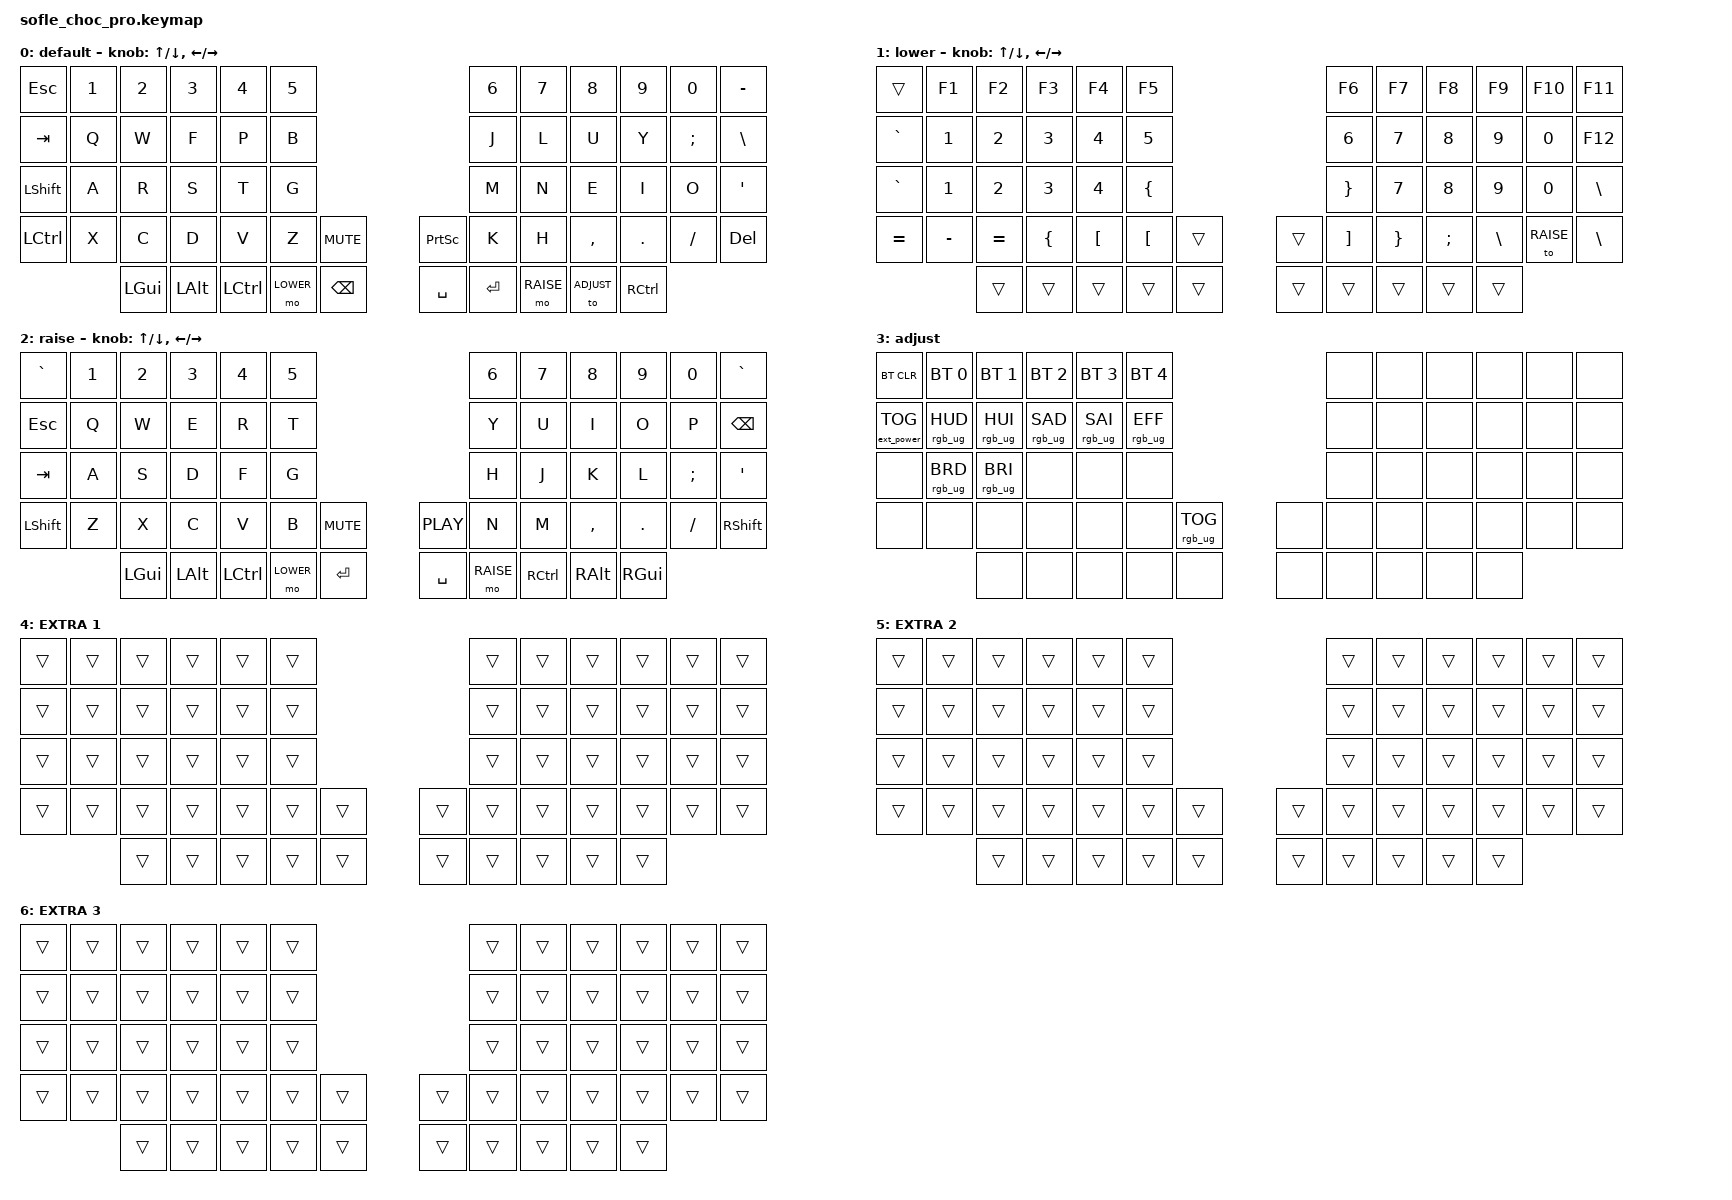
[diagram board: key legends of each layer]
/*
* Copyright (c) 2020 The ZMK Contributors
*
* SPDX-License-Identifier: MIT
*/

#include <behaviors.dtsi>
#include <dt-bindings/zmk/keys.h>
#include <dt-bindings/zmk/bt.h>
#include <dt-bindings/zmk/rgb.h>
#include <dt-bindings/zmk/ext_power.h>

#define BASE 0
#define LOWER 1
#define RAISE 2
#define ADJUST 3

/ {

  // Activate ADJUST layer by pressing raise and lower
  conditional_layers {
    compatible = "zmk,conditional-layers";
    adjust_layer {
      if-layers = <LOWER RAISE>;
      then-layer = <ADJUST>;
    };
  };

  keymap {
    compatible = "zmk,keymap";

    default_layer {
      display-name = "default";
      // ------------------------------------------------------------------------------------------------------------
      // |  ESC  |  1  |  2  |  3   |  4   |  5   |                   |  6   |  7    |  8    |  9   |   0   |   -   |
      // |  TAB  |  Q  |  W  |  F   |  P   |  B   |                   |  J   |  L    |  U    |  Y   |   ;   |   \   |
      // | SHIFT |  A  |  R  |  S   |  T   |  G   |                   |  M   |  N    |  E    |  I   |   O   |   '   |
      // | CTRL  |  X  |  C  |  D   |  V   |  Z   |  MUTE  |  | PSCR  |  K   |  H    |  ,    |  .   |   /   |  DEL  |
      //               | GUI | ALT  | CTRL | LOWER|  BSPC  |  | SPACE |  RET | RAISE |ADJUST | CTRL |
      bindings = <
        &kp ESC   &kp N1 &kp N2   &kp N3   &kp N4    &kp N5                           &kp N6 &kp N7    &kp N8    &kp N9   &kp N0   &kp MINUS
        &kp TAB   &kp Q  &kp W    &kp F    &kp P     &kp B                            &kp J  &kp L     &kp U     &kp Y    &kp SEMI &kp BSLH
        &kp LSHFT &kp A  &kp R    &kp S    &kp T     &kp G                            &kp M  &kp N     &kp E     &kp I    &kp O    &kp SQT
        &kp LCTRL &kp X  &kp C    &kp D    &kp V     &kp Z   &kp C_MUTE &kp PSCRN     &kp K  &kp H     &kp COMMA &kp DOT  &kp FSLH &kp DEL
        &kp LGUI &kp LALT &kp LCTRL &mo LOWER &kp BSPC    &kp SPACE  &kp RET &mo RAISE &to ADJUST &kp RCTRL
      >;

      sensor-bindings = <&inc_dec_kp UP DOWN &inc_dec_kp LEFT RIGHT>;
    };

    lower_layer {
      display-name = "lower";
      // ------------------------------------------------------------------------------------------------------------
      // |       |  F1 |  F2 |  F3  |  F4  |  F5  |                   |  F6  |  F7   |  F8   |  F9  |  F10  |  F11  |
      // |   `   |  1  |  2  |  3   |  4   |  5   |                   |  6   |  7    |  8    |  9   |   0   |  F12  |
      // |   `   |  1  |  2  |  3   |  4   |  {   |                   |  }   |  7    |  8    |  9   |   0   |   \   |
      // |   =   |  -  |  =  |  {   |  [   |  [   |        |  |       |  ]   |  }    |  ;    |  \   |RAISE  |   \   |
      //               |     |      |      |      |        |  |       |      |       |       |      |
      bindings = <
        &trans    &kp F1    &kp F2    &kp F3      &kp F4    &kp F5                    &kp F6    &kp F7   &kp F8    &kp F9    &kp F10   &kp F11
        &kp GRAVE &kp N1    &kp N2    &kp N3      &kp N4    &kp N5                    &kp N6    &kp N7   &kp N8    &kp N9    &kp N0    &kp F12
        &kp GRAVE &kp N1    &kp N2    &kp N3      &kp N4    &kp LBRC                  &kp RBRC  &kp N7   &kp N8    &kp N9    &kp N0    &kp BSLH
        &kp EQUAL &kp MINUS &kp EQUAL &kp LBRC &kp LBKT  &kp LBKT   &trans &trans  &kp RBKT  &kp RBRC &kp SEMI  &kp BSLH  &to RAISE &kp BSLH
        &trans    &trans      &trans    &trans     &trans &trans  &trans    &trans   &trans    &trans
      >;

      sensor-bindings = <&inc_dec_kp UP DOWN &inc_dec_kp LEFT RIGHT>;
    };

    raise_layer {
      display-name = "raise";
      // ------------------------------------------------------------------------------------------------------------
      // |   `   |  1  |  2  |  3   |  4   |  5   |                   |  6   |  7    |  8    |  9   |   0   |   `   |
      // |  ESC  |  Q  |  W  |  E   |  R   |  T   |                   |  Y   |  U    |  I    |  O   |   P   | BKSPC |
      // |  TAB  |  A  |  S  |  D   |  F   |  G   |                   |  H   |  J    |  K    |  L   |   ;   |   '   |
      // | SHIFT |  Z  |  X  |  C   |  V   |  B   |  MUTE  |  | PLAY  |  N   |  M    |  ,    |  .   |   /   | SHIFT |
      //               | GUI | ALT  | CTRL | LOWER|  ENTER |  | SPACE | RAISE| CTRL  | ALT   | GUI  |
      bindings = <
        &kp GRAVE &kp N1 &kp N2   &kp N3   &kp N4    &kp N5                           &kp N6 &kp N7    &kp N8    &kp N9   &kp N0   &kp GRAVE
        &kp ESC   &kp Q  &kp W    &kp E    &kp R     &kp T                            &kp Y  &kp U     &kp I     &kp O    &kp P    &kp BSPC
        &kp TAB   &kp A  &kp S    &kp D    &kp F     &kp G                            &kp H  &kp J     &kp K     &kp L    &kp SEMI &kp SQT
        &kp LSHFT &kp Z  &kp X    &kp C    &kp V     &kp B   &kp C_MUTE &kp C_PLAY    &kp N  &kp M     &kp COMMA &kp DOT  &kp FSLH &kp RSHFT
        &kp LGUI &kp LALT &kp LCTRL &mo LOWER  &kp RET    &kp SPACE  &mo RAISE  &kp RCTRL &kp RALT  &kp RGUI
      >;

      sensor-bindings = <&inc_dec_kp UP DOWN &inc_dec_kp LEFT RIGHT>;
    };

    adjust_layer {
      // ----------------------------------------------------------------------------------------------------------------------------
      // | BTCLR  |  BT1    |  BT2    |   BT3   |   BT4   |   BT5   |                  |      |      |       |      |       |       |
      // | EXTPWR | RGB_HUD | RGB_HUI | RGB_SAD | RGB_SAI | RGB_EFF |                  |      |      |       |      |       |       |
      // |        | RGB_BRD | RGB_BRI |         |         |         |                  |      |      |       |      |       |       |
      // |        |         |         |         |         |         | RGB_TOG | |      |      |      |       |      |       |       |
      //                    |         |         |         |         |         | |      |      |      |       |      |
      display-name = "adjust";
      bindings = <
        &bt BT_CLR        &bt BT_SEL 0    &bt BT_SEL 1    &bt BT_SEL 2    &bt BT_SEL 3    &bt BT_SEL 4                            &none &none &none &none &none &none
        &ext_power EP_TOG &rgb_ug RGB_HUD &rgb_ug RGB_HUI &rgb_ug RGB_SAD &rgb_ug RGB_SAI &rgb_ug RGB_EFF                         &none &none &none &none &none &none
        &none             &rgb_ug RGB_BRD &rgb_ug RGB_BRI &none           &none           &none                                   &none &none &none &none &none &none
        &none             &none           &none           &none           &none           &none            &rgb_ug RGB_TOG &none  &none &none &none &none &none &none
        &none           &none           &none           &none            &none           &none  &none &none &none &none
      >;
    };

    extra_layer_1 {
      display-name = "EXTRA 1";
      bindings = <
        &trans &trans &trans &trans &trans &trans               &trans &trans &trans &trans &trans &trans
        &trans &trans &trans &trans &trans &trans               &trans &trans &trans &trans &trans &trans
        &trans &trans &trans &trans &trans &trans               &trans &trans &trans &trans &trans &trans
        &trans &trans &trans &trans &trans &trans &trans &trans &trans &trans &trans &trans &trans &trans
                      &trans &trans &trans &trans &trans &trans &trans &trans &trans &trans
      >;
    };

    extra_layer_2 {
      display-name = "EXTRA 2";
      bindings = <
        &trans &trans &trans &trans &trans &trans               &trans &trans &trans &trans &trans &trans
        &trans &trans &trans &trans &trans &trans               &trans &trans &trans &trans &trans &trans
        &trans &trans &trans &trans &trans &trans               &trans &trans &trans &trans &trans &trans
        &trans &trans &trans &trans &trans &trans &trans &trans &trans &trans &trans &trans &trans &trans
                      &trans &trans &trans &trans &trans &trans &trans &trans &trans &trans
      >;
    };

    extra_layer_3 {
      display-name = "EXTRA 3";
      bindings = <
        &trans &trans &trans &trans &trans &trans               &trans &trans &trans &trans &trans &trans
        &trans &trans &trans &trans &trans &trans               &trans &trans &trans &trans &trans &trans
        &trans &trans &trans &trans &trans &trans               &trans &trans &trans &trans &trans &trans
        &trans &trans &trans &trans &trans &trans &trans &trans &trans &trans &trans &trans &trans &trans
                      &trans &trans &trans &trans &trans &trans &trans &trans &trans &trans
      >;
    };
  };
};
